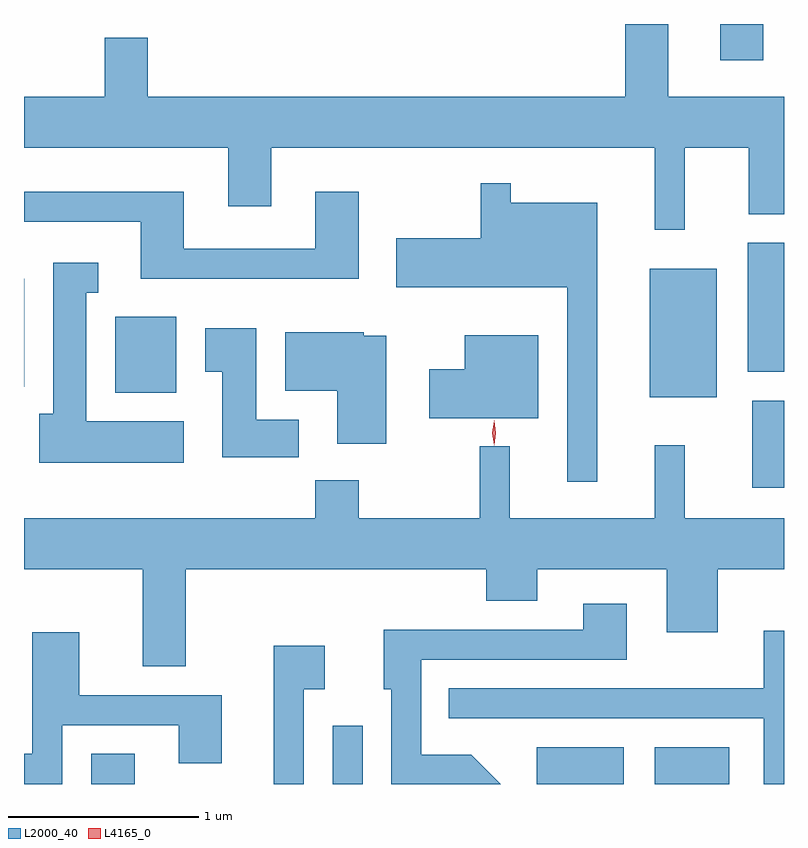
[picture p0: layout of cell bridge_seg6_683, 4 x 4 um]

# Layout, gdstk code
import gdstk
lib = gdstk.Library(unit=1e-6, precision=1e-09)
def R(c, l, rs):  # rectangles x0, y0, x1, y1
    for r in rs: c.add(gdstk.rectangle(r[:2], r[2:], *l))
def P(c, l, *ps):  # polygons
    for p in ps: c.add(gdstk.Polygon(p, *l))
L2000_40 = (2000, 40)
L4165_0 = (4165, 0)

bridge_seg6_683 = lib.new_cell('bridge_seg6_683')
R(bridge_seg6_683, L2000_40, [(239.591,1537.806,239.819,1537.964), (240.861,1537.806,241.019,1538.113), (241.936,1537.806,242.394,1537.999), (242.556,1537.806,242.949,1537.999), (243.071,1539.366,243.237,1539.824), (242.531,1539.841,242.884,1540.519), (239.716,1539.866,240.039,1540.264), (239.237,1539.896,239.239,1540.464), (243.046,1539.976,243.237,1540.654), (242.901,1541.616,243.129,1541.806)])
P(bridge_seg6_683, L2000_40, [(242.714,1541.156),(243.051,1541.156),(243.051,1540.806),(243.237,1540.806),(243.237,1541.424),(242.629,1541.424),(242.629,1541.806),(242.401,1541.806),(242.401,1541.424),(239.889,1541.424),(239.889,1541.734),(239.661,1541.734),(239.661,1541.424),(239.237,1541.424),(239.237,1541.156),(240.311,1541.156),(240.311,1540.846),(240.539,1540.846),(240.539,1541.156),(242.556,1541.156),(242.556,1540.723),(242.714,1540.723)],
  [(242.254,1540.864),(241.799,1540.864),(241.799,1540.968),(241.641,1540.968),(241.641,1540.679),(241.196,1540.679),(241.196,1540.421),(242.096,1540.421),(242.096,1539.398),(242.254,1539.398)],
  [(240.999,1540.924),(240.771,1540.924),(240.771,1540.624),(240.079,1540.624),(240.079,1540.924),(239.237,1540.924),(239.237,1540.766),(239.851,1540.766),(239.851,1540.466),(240.999,1540.466)],
  [(240.079,1539.714),(239.564,1539.714),(239.564,1540.391),(239.628,1540.391),(239.628,1540.549),(239.391,1540.549),(239.391,1539.754),(239.316,1539.754),(239.316,1539.496),(240.079,1539.496)],
  [(240.684,1539.724),(240.459,1539.724),(240.459,1540.204),(240.191,1540.204),(240.191,1539.976),(240.281,1539.976),(240.281,1539.526),(240.684,1539.526)],
  [(241.144,1540.164),(241.024,1540.164),(241.024,1540.184),(240.611,1540.184),(240.611,1539.876),(240.886,1539.876),(240.886,1539.596),(241.144,1539.596)],
  [(241.944,1540.169),(241.556,1540.169),(241.556,1539.989),(241.371,1539.989),(241.371,1539.731),(241.944,1539.731)],
  [(240.089,1538.936),(241.671,1538.936),(241.671,1538.771),(241.939,1538.771),(241.939,1538.936),(242.621,1538.936),(242.621,1538.606),(242.889,1538.606),(242.889,1538.936),(243.237,1538.936),(243.237,1539.204),(242.714,1539.204),(242.714,1539.588),(242.556,1539.588),(242.556,1539.204),(241.794,1539.204),(241.794,1539.583),(241.636,1539.583),(241.636,1539.204),(240.999,1539.204),(240.999,1539.404),(240.771,1539.404),(240.771,1539.204),(239.237,1539.204),(239.237,1538.936),(239.861,1538.936),(239.861,1538.426),(240.089,1538.426)],
  [(241.592,1537.959),(241.329,1537.959),(241.329,1538.461),(242.409,1538.461),(242.409,1538.754),(242.181,1538.754),(242.181,1538.619),(241.131,1538.619),(241.131,1538.306),(241.171,1538.306),(241.171,1537.806),(241.745,1537.806)],
  [(243.237,1538.613),(243.131,1538.613),(243.131,1538.309),(241.473,1538.309),(241.473,1538.151),(243.131,1538.151),(243.131,1537.806),(243.237,1537.806)],
  [(239.439,1538.116),(240.051,1538.116),(240.051,1537.916),(240.279,1537.916),(240.279,1538.274),(239.529,1538.274),(239.529,1538.604),(239.281,1538.604),(239.281,1537.964),(239.237,1537.964),(239.237,1537.806),(239.439,1537.806)],
  [(240.709,1538.306),(240.819,1538.306),(240.819,1538.534),(240.551,1538.534),(240.551,1537.806),(240.709,1537.806)])
P(bridge_seg6_683, L4165_0, [(241.711,1539.589),(241.702,1539.654),(241.711,1539.719),(241.711,1539.72),(241.712,1539.719),(241.721,1539.654),(241.712,1539.589),(241.712,1539.589)])

lib.write_gds('bridge_seg6_683.gds')
